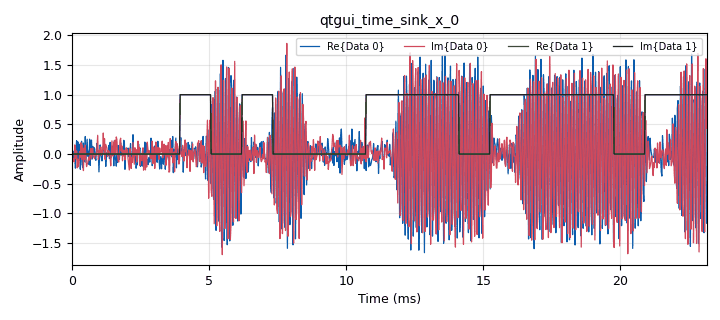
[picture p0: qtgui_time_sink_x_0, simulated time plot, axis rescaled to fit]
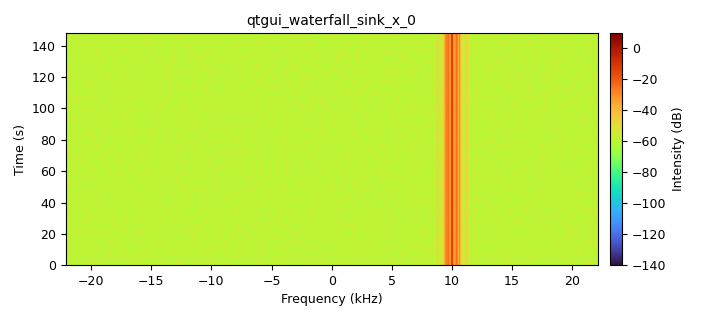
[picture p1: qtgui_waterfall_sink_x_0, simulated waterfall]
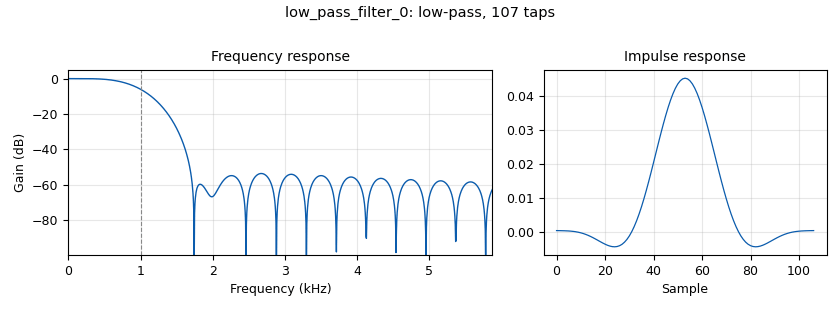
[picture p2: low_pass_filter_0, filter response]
options:
  parameters:
    generate_options: qt_gui
    id: ReadingSignals
    output_language: python
    title: Not titled yet
  states: {}

blocks:
- name: samp_rate
  id: variable
  parameters:
    value: '44200'
  states: {}
- name: samp_rate_0
  id: variable
  parameters:
    value: '44200'
  states: {}
- name: analog_sig_source_x_0
  id: analog_sig_source_x
  parameters:
    amp: '1'
    freq: '10000'
    offset: '0'
    phase: '0'
    samp_rate: samp_rate
    type: complex
    waveform: analog.GR_COS_WAVE
  states: {}
- name: audio_sink_0
  id: audio_sink
  parameters:
    samp_rate: samp_rate
  states: {}
- name: blocks_complex_to_real_0
  id: blocks_complex_to_real
  parameters: {}
  states: {}
- name: blocks_file_meta_sink_0
  id: blocks_file_meta_sink
  parameters:
    detached: 'False'
    extra_dict: pmt.make_dict()
    file: C:\GithubRepositories\COMP6841\Project_SomethingAwesome\Project\radio\GNURadio\ReadingSignals.sigmf-meta
    max_seg_size: '1000000'
    rel_rate: '1'
    samp_rate: samp_rate
    type: complex
  states: {}
- name: blocks_file_sink_0
  id: blocks_file_sink
  parameters:
    file: C:\GithubRepositories\COMP6841\Project_SomethingAwesome\Project\radio\GNURadio\ReadingSignals.sigmf-data
    type: complex
  states: {}
- name: blocks_interleaved_char_to_complex_0
  id: blocks_interleaved_char_to_complex
  parameters:
    scale_factor: '1.0'
    vector_input: 'False'
  states: {}
- name: blocks_multiply_xx_0
  id: blocks_multiply_xx
  parameters:
    type: complex
  states: {}
- name: blocks_repeat_0
  id: blocks_repeat
  parameters:
    interp: '100'
    type: byte
  states: {}
- name: blocks_unpack_k_bits_bb_0
  id: blocks_unpack_k_bits_bb
  parameters:
    k: '8'
  states: {}
- name: blocks_vector_source_x_0
  id: blocks_vector_source_x
  parameters:
    repeat: 'True'
    type: byte
    vector: list(b"FLAG{LIFE_IS LIKE A BOX_OF_CHOCS}")
  states: {}
- name: channels_channel_model_0
  id: channels_channel_model
  parameters:
    epsilon: '1.0'
    freq_offset: '0.0'
    noise_voltage: '0.2'
    seed: '0'
    taps: '1.0'
  states: {}
- name: low_pass_filter_0
  id: low_pass_filter
  parameters:
    cutoff_freq: '1000'
    decim: '1'
    gain: '1'
    samp_rate: samp_rate
    type: fir_filter_ccf
    width: '1000'
    win: window.WIN_HAMMING
  states: {}
- name: qtgui_time_sink_x_0
  id: qtgui_time_sink_x
  parameters:
    nconnections: '2'
    size: '1024'
    srate: samp_rate
    type: complex
  states: {}
- name: qtgui_waterfall_sink_x_0
  id: qtgui_waterfall_sink_x
  parameters:
    bw: samp_rate
    fc: '0'
    fftsize: '32768'
    type: complex
    update_time: '0.0001'
  states: {}

connections:
- [analog_sig_source_x_0, '0', blocks_multiply_xx_0, '1']
- [blocks_complex_to_real_0, '0', audio_sink_0, '0']
- [blocks_interleaved_char_to_complex_0, '0', low_pass_filter_0, '0']
- [blocks_interleaved_char_to_complex_0, '0', qtgui_time_sink_x_0, '1']
- [blocks_multiply_xx_0, '0', channels_channel_model_0, '0']
- [blocks_repeat_0, '0', blocks_interleaved_char_to_complex_0, '0']
- [blocks_unpack_k_bits_bb_0, '0', blocks_repeat_0, '0']
- [blocks_vector_source_x_0, '0', blocks_unpack_k_bits_bb_0, '0']
- [channels_channel_model_0, '0', blocks_complex_to_real_0, '0']
- [channels_channel_model_0, '0', blocks_file_meta_sink_0, '0']
- [channels_channel_model_0, '0', blocks_file_sink_0, '0']
- [channels_channel_model_0, '0', qtgui_time_sink_x_0, '0']
- [channels_channel_model_0, '0', qtgui_waterfall_sink_x_0, '0']
- [low_pass_filter_0, '0', blocks_multiply_xx_0, '0']

metadata:
  file_format: 1
  grc_version: 3.10.12.0
